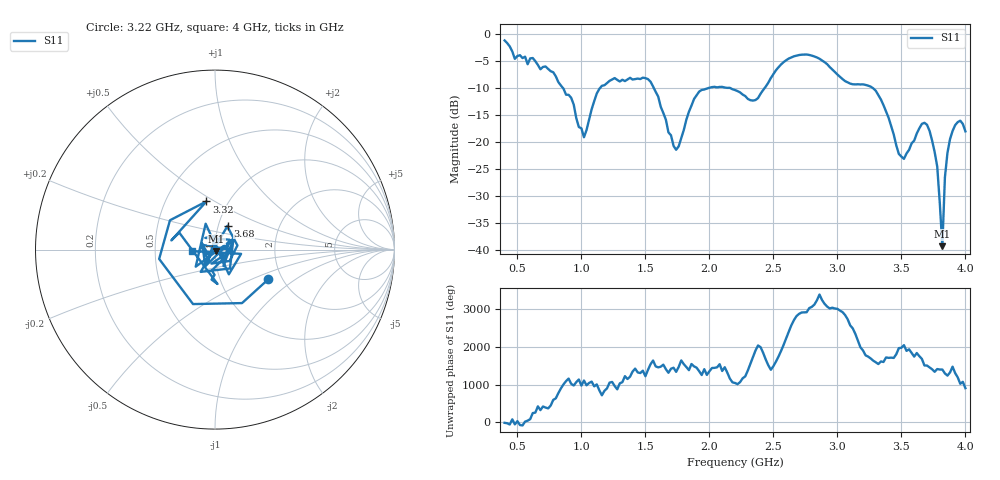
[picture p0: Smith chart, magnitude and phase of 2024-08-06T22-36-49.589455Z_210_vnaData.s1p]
!Created with skrf (http://scikit-rf.org).
# Hz S RI R 50.0
!freq ReS11 ImS11
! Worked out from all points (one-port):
!   181 points, 400 MHz to 4 GHz, reference 50 ohm
!   lowest |S11| = -39.3 dB at 3.82 GHz (marker M1), VSWR 1.02, Z = 50.8 - j0.767 ohm
!   |S11| at or under -10 dB: 857.2 MHz to 1.144 GHz (287.3 MHz wide, 28.7 % of centre); 1.566 GHz to 1.989 GHz (422.6 MHz wide, 23.8 % of centre); 3.279 GHz to end of sweep (the widest 3 of 4)
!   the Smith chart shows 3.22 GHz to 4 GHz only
!   S11 on the Smith chart (normalised r, x): 3.22 GHz: 1.69, -0.64; 3.32 GHz: 0.79, +0.46; 3.68 GHz: 1.11, +0.30; 4 GHz: 0.78, -0.01
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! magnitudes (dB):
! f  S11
! 400 MHz  -1.1
! 480 MHz  -4.6
! 620 MHz  -4.4
! 860 MHz  -10.1
! 1.02 GHz  -19.1
! 1.14 GHz  -10.1
! 1.3 GHz  -8.8
! 1.54 GHz  -8.8
! 1.72 GHz  -20.7
! 1.76 GHz  -20.8
! 1.92 GHz  -10.6
! 2.2 GHz  -10.3
! 2.36 GHz  -12.2
! 2.66 GHz  -4.1
! 2.84 GHz  -4.3
! 3.1 GHz  -9.1
! 3.22 GHz  -9.4
! 3.32 GHz  -11.3
! 3.48 GHz  -22.2
! 3.56 GHz  -21.4
! 3.68 GHz  -16.4
! 3.72 GHz  -17.9
! 3.78 GHz  -24.5
! 3.82 GHz  -39.3
! 3.84 GHz  -26.5
! 3.88 GHz  -19.4
! 3.96 GHz  -16.0
! 4 GHz  -18.0
